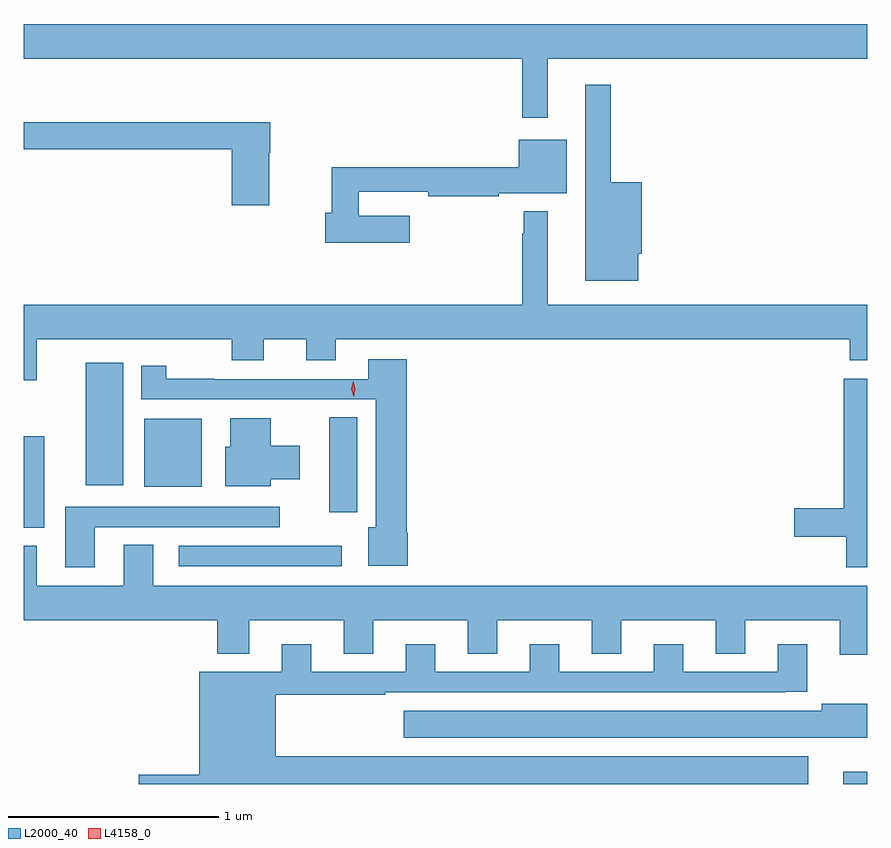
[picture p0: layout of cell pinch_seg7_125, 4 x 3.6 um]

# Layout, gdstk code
import gdstk
lib = gdstk.Library(unit=1e-6, precision=1e-09)
def R(c, l, rs):  # rectangles x0, y0, x1, y1
    for r in rs: c.add(gdstk.rectangle(r[:2], r[2:], *l))
def P(c, l, *ps):  # polygons
    for p in ps: c.add(gdstk.Polygon(p, *l))
L2000_40 = (2000, 40)
L4158_0 = (4158, 0)

pinch_seg7_125 = lib.new_cell('pinch_seg7_125')
R(pinch_seg7_125, L2000_40, [(972.983,1005.167,973.096,1005.226), (969.831,1006.2,970.603,1006.296), (969.096,1006.382,969.193,1006.816), (970.544,1006.455,970.678,1006.907), (969.668,1006.577,969.94,1006.9), (969.389,1006.583,969.568,1007.164)])
P(pinch_seg7_125, L2000_40, [(969.096,1008.608),(971.46,1008.608),(971.46,1008.327),(971.581,1008.327),(971.581,1008.608),(973.096,1008.608),(973.096,1008.772),(969.096,1008.772)],
  [(972.01,1007.682),(972.028,1007.682),(972.028,1008.022),(971.881,1008.022),(971.881,1008.484),(971.759,1008.484),(971.759,1007.555),(972.01,1007.555)],
  [(970.26,1008.161),(970.265,1008.161),(970.265,1008.307),(969.096,1008.307),(969.096,1008.178),(970.082,1008.178),(970.082,1007.913),(970.26,1007.913)],
  [(970.927,1007.863),(970.685,1007.863),(970.685,1007.976),(971.014,1007.976),(971.014,1007.956),(971.348,1007.956),(971.348,1007.969),(971.671,1007.969),(971.671,1008.223),(971.444,1008.223),(971.444,1008.092),(970.557,1008.092),(970.557,1007.876),(970.526,1007.876),(970.526,1007.734),(970.927,1007.734)],
  [(969.157,1007.276),(970.082,1007.276),(970.082,1007.177),(970.234,1007.177),(970.234,1007.276),(970.436,1007.276),(970.436,1007.177),(970.576,1007.177),(970.576,1007.276),(973.013,1007.276),(973.013,1007.177),(973.096,1007.177),(973.096,1007.44),(971.581,1007.44),(971.581,1007.884),(971.466,1007.884),(971.466,1007.777),(971.46,1007.777),(971.46,1007.44),(969.096,1007.44),(969.096,1007.082),(969.157,1007.082)],
  [(970.918,1006.359),(970.913,1006.359),(970.913,1007.182),(970.73,1007.182),(970.73,1007.088),(969.998,1007.088),(969.998,1007.09),(969.771,1007.09),(969.771,1007.152),(969.653,1007.152),(969.653,1006.992),(970.766,1006.992),(970.766,1006.384),(970.73,1006.384),(970.73,1006.202),(970.918,1006.202)],
  [(973.096,1007.09),(972.986,1007.09),(972.986,1006.475),(972.75,1006.475),(972.75,1006.34),(972.998,1006.34),(972.998,1006.194),(973.096,1006.194)],
  [(970.267,1006.613),(970.405,1006.613),(970.405,1006.771),(970.267,1006.771),(970.267,1006.903),(970.076,1006.903),(970.076,1006.767),(970.052,1006.767),(970.052,1006.58),(970.267,1006.58)],
  [(969.433,1006.386),(970.309,1006.386),(970.309,1006.482),(969.293,1006.482),(969.293,1006.194),(969.433,1006.194)],
  [(973.096,1006.108),(969.709,1006.108),(969.709,1006.301),(969.569,1006.301),(969.569,1006.108),(969.157,1006.108),(969.157,1006.297),(969.096,1006.297),(969.096,1005.944),(970.013,1005.944),(970.013,1005.785),(970.165,1005.785),(970.165,1005.944),(970.613,1005.944),(970.613,1005.784),(970.753,1005.784),(970.753,1005.944),(971.201,1005.944),(971.201,1005.784),(971.341,1005.784),(971.341,1005.944),(971.789,1005.944),(971.789,1005.784),(971.929,1005.784),(971.929,1005.944),(972.377,1005.944),(972.377,1005.784),(972.517,1005.784),(972.517,1005.944),(972.965,1005.944),(972.965,1005.78),(973.096,1005.78)],
  [(972.817,1005.298),(970.291,1005.298),(970.291,1005.591),(970.811,1005.591),(970.811,1005.603),(972.707,1005.603),(972.707,1005.604),(972.811,1005.604),(972.811,1005.829),(972.671,1005.829),(972.671,1005.699),(972.223,1005.699),(972.223,1005.829),(972.083,1005.829),(972.083,1005.699),(971.635,1005.699),(971.635,1005.829),(971.495,1005.829),(971.495,1005.699),(971.047,1005.699),(971.047,1005.829),(970.907,1005.829),(970.907,1005.699),(970.459,1005.699),(970.459,1005.829),(970.319,1005.829),(970.319,1005.7),(969.929,1005.7),(969.929,1005.212),(969.642,1005.212),(969.642,1005.167),(972.817,1005.167)],
  [(973.096,1005.548),(972.88,1005.548),(972.88,1005.514),(970.899,1005.514),(970.899,1005.386),(973.096,1005.386)])
P(pinch_seg7_125, L4158_0, [(970.66,1007.005),(970.66,1007.005),(970.649,1007.041),(970.658,1007.077),(970.658,1007.077),(970.658,1007.077),(970.669,1007.041),(970.66,1007.005)])

lib.write_gds('pinch_seg7_125.gds')
